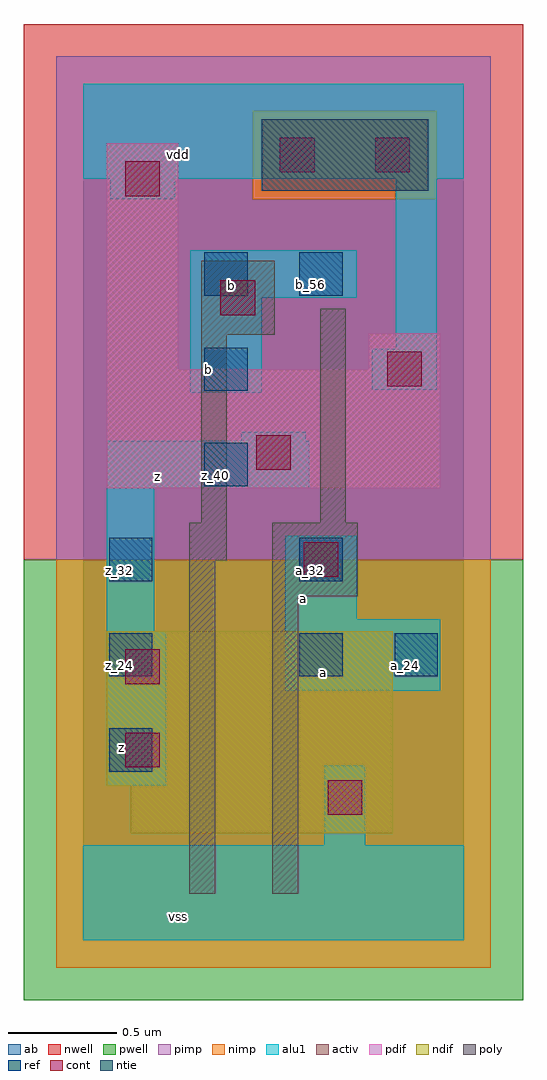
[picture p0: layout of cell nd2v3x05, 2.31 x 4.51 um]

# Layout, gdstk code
import gdstk
lib = gdstk.Library(unit=1e-6, precision=2.5e-09)
def R(c, l, rs):  # rectangles x0, y0, x1, y1
    for r in rs: c.add(gdstk.rectangle(r[:2], r[2:], *l))
def A(c, l, x, y, w, h, nx, ny, dx, dy):  # array of equal rectangles
    R(c, l, [(x+i*dx, y+j*dy, x+i*dx+w, y+j*dy+h) for i in range(nx) for j in range(ny)])
ndif = (3, 0)
pdif = (4, 0)
ntie = (5, 0)
ref = (24, 0)
cont = (25, 0)
pwell = (41, 0)
nwell = (42, 0)
activ = (43, 0)
pimp = (44, 0)
nimp = (45, 0)
poly = (46, 0)
alu1 = (49, 0)
ab = (63, 0)

nd2v3x05 = lib.new_cell('nd2v3x05')
R(nd2v3x05, ndif, [(0.22,0.495,1.43,0.715), (0.11,0.715,1.43,1.43)])
R(nd2v3x05, pdif, [(0.11,2.09,1.65,2.64), (0.11,2.64,0.44,3.685), (1.32,2.64,1.65,2.805)])
R(nd2v3x05, ntie, [(0.825,3.465,1.595,3.795)])
A(nd2v3x05, ref, 0.12, 0.78, 0.2, 0.2, 1, 3, 0, 0.44)
A(nd2v3x05, ref, 0.56, 2.1, 0.2, 0.2, 1, 3, 0, 0.44)
R(nd2v3x05, ref, [(1,1.22,1.2,1.42), (1.44,1.22,1.64,1.42), (1,1.66,1.2,1.86), (1,2.98,1.2,3.18)])
R(nd2v3x05, cont, [(1.13,0.58,1.29,0.74), (0.195,0.8,0.355,0.96), (0.195,1.185,0.355,1.345), (1.02,1.68,1.18,1.84), (0.8,2.175,0.96,2.335), (1.405,2.56,1.565,2.72), (0.635,2.89,0.795,3.05), (0.195,3.44,0.355,3.6), (0.91,3.55,1.07,3.71), (1.35,3.55,1.51,3.71)])
R(nd2v3x05, pwell, [(-0.275,-0.275,2.035,1.76)])
R(nd2v3x05, nwell, [(-0.275,1.76,2.035,4.235)])
R(nd2v3x05, activ, [(0.22,0.495,1.43,0.715), (0.11,0.715,1.43,1.43), (0.11,2.09,1.65,2.64), (0.11,2.64,0.44,3.685), (1.32,2.64,1.65,2.805), (0.825,3.465,1.595,3.795)])
R(nd2v3x05, pimp, [(-0.125,1.76,1.885,3.425), (-0.125,3.425,0.785,3.835), (1.635,3.425,1.885,3.835), (-0.125,3.835,1.885,4.085)])
R(nd2v3x05, nimp, [(-0.125,-0.125,1.885,1.76), (0.785,3.425,1.635,3.835)])
R(nd2v3x05, poly, [(0.49,0.215,0.61,1.755), (0.875,0.215,0.995,1.59), (0.875,1.59,1.27,1.93), (0.49,1.755,0.665,1.93), (0.545,1.93,0.665,2.8), (1.095,1.93,1.215,2.92), (0.545,2.8,0.885,3.14)])
R(nd2v3x05, alu1, [(0,0,1.76,0.44), (1.115,0.44,1.305,0.81), (0.11,0.715,0.385,1.43), (0.935,1.155,1.65,1.485), (0.11,1.43,0.33,2.09), (0.935,1.485,1.265,1.87), (0.11,2.09,1.045,2.31), (0.73,2.31,1.03,2.35), (0.495,2.53,0.825,2.97), (1.335,2.545,1.635,2.735), (1.445,2.735,1.635,3.52), (0.495,2.97,1.265,3.19), (0.125,3.425,0.425,3.52), (0,3.52,1.76,3.96)])
R(nd2v3x05, ab, [(0,0,1.76,3.96)])
nd2v3x05.add(gdstk.Label('vss', (0.44,0.11), layer=49, texttype=0))
nd2v3x05.add(gdstk.Label('a', (1.1125,1.2375), layer=49, texttype=0))
nd2v3x05.add(gdstk.Label('z', (0.1775,0.8925), layer=49, texttype=0))
nd2v3x05.add(gdstk.Label('a', (1.0175,1.58), layer=49, texttype=0))
nd2v3x05.add(gdstk.Label('z', (0.3425,2.145), layer=49, texttype=0))
nd2v3x05.add(gdstk.Label('b', (0.5775,2.64), layer=49, texttype=0))
nd2v3x05.add(gdstk.Label('b', (0.6875,3.025), layer=49, texttype=0))
nd2v3x05.add(gdstk.Label('vdd', (0.44,3.63), layer=49, texttype=0))
nd2v3x05.add(gdstk.Label('z_16', (0.17,0.83), layer=24, texttype=0))
nd2v3x05.add(gdstk.Label('b_56', (1.05,3.03), layer=24, texttype=0))
nd2v3x05.add(gdstk.Label('z_40', (0.61,2.15), layer=24, texttype=0))
nd2v3x05.add(gdstk.Label('b_48', (0.61,2.59), layer=24, texttype=0))
nd2v3x05.add(gdstk.Label('b_56', (0.61,3.03), layer=24, texttype=0))
nd2v3x05.add(gdstk.Label('a_24', (1.05,1.27), layer=24, texttype=0))
nd2v3x05.add(gdstk.Label('a_32', (1.05,1.71), layer=24, texttype=0))
nd2v3x05.add(gdstk.Label('z_24', (0.17,1.27), layer=24, texttype=0))
nd2v3x05.add(gdstk.Label('z_32', (0.17,1.71), layer=24, texttype=0))
nd2v3x05.add(gdstk.Label('a_24', (1.49,1.27), layer=24, texttype=0))

lib.write_gds('nd2v3x05.gds')
